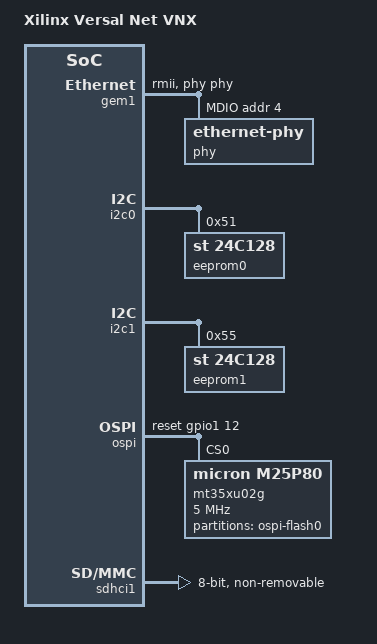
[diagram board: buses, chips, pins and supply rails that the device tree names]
// SPDX-License-Identifier: GPL-2.0
/*
 * dts file for Xilinx Versal Net VNX board
 *
 * (C) Copyright 2022, Xilinx, Inc.
 * (C) Copyright 2022-2024 Advanced Micro Devices, Inc. All Rights Reserved.
 *
 * Michal Simek <michal.simek@amd.com>
 */


#include "include/dt-bindings/gpio/gpio.h"

/ {
	compatible = "xlnx,versal-net-vn-x-b2197-00-revA",
		     "xlnx,versal-net-vn-x-b2197-00", "xlnx,versal-net";
	model = "Xilinx Versal Net VNX";


	chosen {
		bootargs = "console=ttyAMA1,115200";
		stdout-path = "serial1:115200";
	};

	aliases {
		nvmem0 = &eeprom0;
	};
};


&gem1 {
	#address-cells = <1>;
	#size-cells = <0>;
	phy-handle = <&phy>;
	phy-mode = "rmii";
	mdio {
		#address-cells = <1>;
		#size-cells = <0>;
		phy: ethernet-phy {
			reg = <4>;
		};
	};
};


&i2c0 {
	eeprom0: eeprom@51 {
		compatible = "st,24c128", "atmel,24c128";
		reg = <0x51>;
		bootph-all;
	};
};

&i2c1 {
	eeprom1: eeprom@55 {
		compatible = "st,24c128", "atmel,24c128";
		reg = <0x55>;
		bootph-all;
	};
};

&ospi {
	num-cs = <2>;
	reset-gpios = <&gpio1 12 GPIO_ACTIVE_HIGH>;
	reset-names = "qspi";
	#address-cells = <1>;
	#size-cells = <0>;

	mt35xu02g: flash@0 {
		compatible = "micron,m25p80", "jedec,spi-nor";
		reg = <0>, <1>;
		stacked-memories = /bits/ 64 <0x8000000 0x8000000>; /* 128MB */
		#address-cells = <1>;
		#size-cells = <1>;
		cdns,read-delay = <0>;
		cdns,tshsl-ns = <0>;
		cdns,tsd2d-ns = <0>;
		cdns,tchsh-ns = <1>;
		cdns,tslch-ns = <1>;
		spi-tx-bus-width = <8>;
		spi-rx-bus-width = <8>;
		spi-max-frequency = <5000000>;
		broken-flash-reset;

		partitions {
			compatible = "fixed-partitions";
			#address-cells = <1>;
			#size-cells = <1>;
			partition@0 {
				label = "ospi-flash0";
				reg = <0 0x8000000>;
			};
		};
	};
};

&sdhci1 {
	non-removable;
	disable-wp;
	bus-width = <8>;
	no-1-8-v;
};


&spi1 {
	#address-cells = <1>;
	#size-cells = <0>;
	num-cs = <3>;
};


&dwc3_1 {
	snps,refclk_fladj;
	snps,mask_phy_reset;
	phy-names = "usb3-phy";
};
